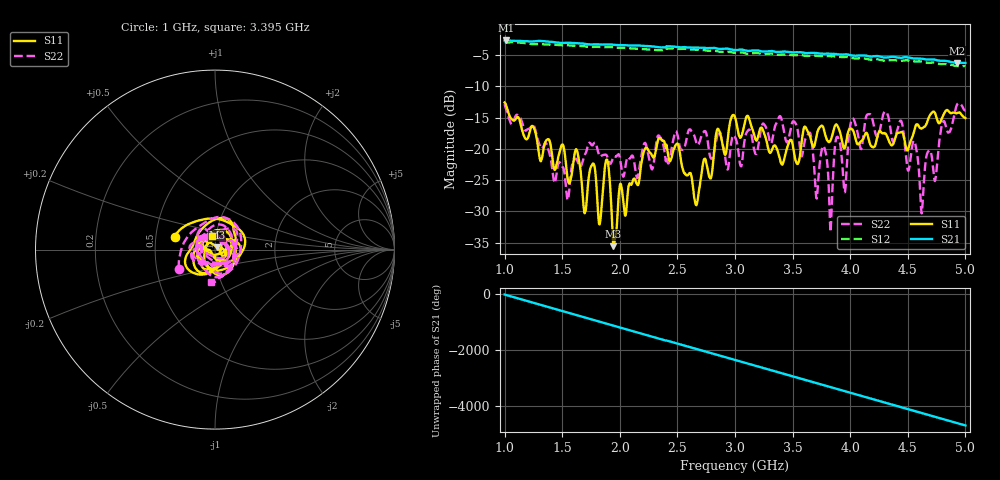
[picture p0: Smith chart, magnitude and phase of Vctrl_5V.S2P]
! C:\Users\Aljaz\OneDrive - Univerza v Ljubljani\DOKTORAT\NOVI TG\PIN AGC ATT\meritve_BAP64Q\Vctrl_5V.S2P
! Touchstone 1.1 file saved by VNA.EXE V1.65 (www.ke5fx.com/gpib/readme.htm)
! 22. 10. 2022 12:13:37
!  Source: HP8510C.07.14: Aug 26  1998
!  Min freq: 1.000000E+009 Hz
!  Max freq: 5.000000E+009 Hz
!  Points: 801
!  Params: S11 S21 S12 S22
# GHZ S DB R 50
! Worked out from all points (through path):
!   801 points, 1 GHz to 5 GHz, reference 50 ohm
!   highest |S21| = -2.68 dB at 1.01 GHz (marker M1); lowest = -6.3 dB at 4.93 GHz (marker M2)
!   lowest |S11| = -35.6 dB at 1.945 GHz (marker M3), VSWR 1.03, Z = 51.1 + j1.26 ohm
!   |S11| at or under -10 dB: start of sweep to end of sweep
!   |S22| runs from -33.3 to -12.7 dB; largest |S21 - S12| = 0.76
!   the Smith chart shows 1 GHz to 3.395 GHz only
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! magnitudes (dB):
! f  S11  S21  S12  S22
! 1 GHz  -12.6  -2.7  -3.0  -12.9
! 1.01 GHz  -12.9  -2.7  -3.0  -13.5
! 1.545 GHz  -24.5  -3.0  -3.4  -28.2
! 1.67 GHz  -25.5  -3.1  -3.6  -22.5
! 1.77 GHz  -22.3  -3.3  -3.7  -19.2
! 1.825 GHz  -32.1  -3.3  -3.7  -21.2
! 1.89 GHz  -21.7  -3.3  -3.8  -21.2
! 1.945 GHz  -35.6  -3.4  -3.8  -21.3
! 2.335 GHz  -18.4  -3.8  -4.3  -17.9
! 2.665 GHz  -29.0  -3.8  -4.1  -19.0
! 3 GHz  -14.9  -4.2  -4.6  -18.1
! 3.67 GHz  -19.3  -4.7  -5.1  -19.4
! 3.78 GHz  -17.5  -4.8  -5.2  -20.1
! 3.83 GHz  -18.6  -4.8  -5.2  -33.3
! 3.885 GHz  -16.2  -4.9  -5.3  -18.1
! 3.95 GHz  -19.9  -4.9  -5.3  -26.9
! 4.02 GHz  -16.9  -5.1  -5.5  -15.2
! 4.335 GHz  -18.7  -5.4  -5.9  -15.2
! 4.56 GHz  -16.8  -5.6  -6.0  -18.9
! 4.62 GHz  -16.8  -5.6  -6.1  -30.3
! 4.93 GHz  -14.3  -6.3  -6.8  -12.8
! 5 GHz  -15.1  -6.3  -6.8  -13.9
